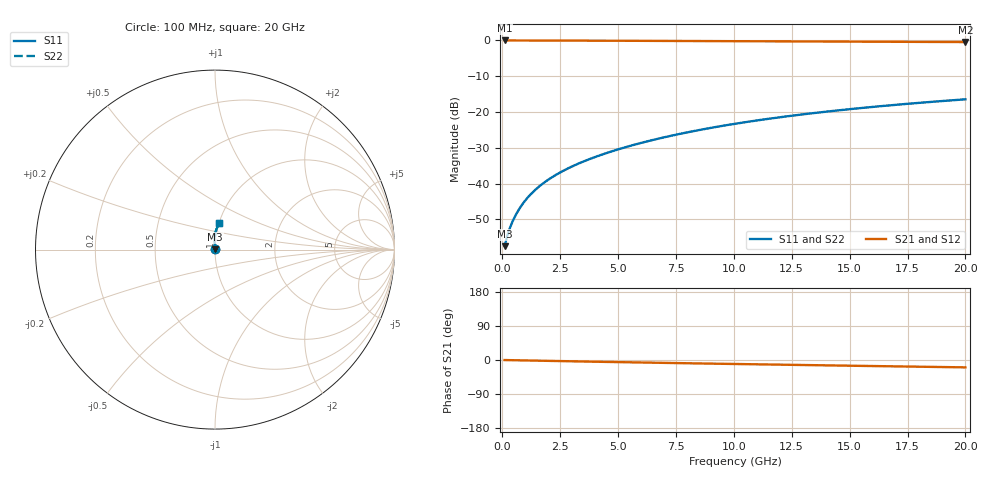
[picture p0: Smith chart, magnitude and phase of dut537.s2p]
! Touchstone file exported from HFSS 2024.1.0
!  File:  C:/UserFiles/LocalFiles/RDL_TSV_Batchsim/temp_RDL_bottom_537_1779688784.aedt
!  Generated:  02:02:07 PM May 25, 2026
!  Design:  RDL_bottom
!  Project:  temp_RDL_bottom_537_1779688784
!  Setup:  Setup1
!  Solution:  Sweep
! Variables:
!  dtsv = 10.80580581um
!  hbump = 3um
!  htsv = 81.48um
!  ldown = 308.16um
!  lrdl = 100um
!  p = 40
!  p1 = 40.27um
!  rhole = 1um
!  t = 450um
!  tdown = 4.65um
!  trdl = 3.915915916um
!  wdown = 25.07um
!  wrdl = 20um
# GHz S MA R 50.000000
! Terminal data exported
! Port[1] = RDL1_T1
! Port[2] = RDL1_T2
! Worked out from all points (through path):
!   200 points, 100 MHz to 20 GHz, reference 50 ohm
!   highest |S21| = -0.01 dB at 100 MHz (marker M1); lowest = -0.5 dB at 20 GHz (marker M2)
!   group delay of S21, straight-line fit = 2.66 ps
!   lowest |S11| = -57.5 dB at 100 MHz (marker M3), VSWR 1.00, Z = 50.1 + j0.0699 ohm
!   |S11| at or under -10 dB: start of sweep to end of sweep
!   |S22| runs from -57.5 to -16.5 dB; largest |S21 - S12| = 2.7e-15
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0.1  0.001332 31.6  0.9989 -0.1  0.9989 -0.1  0.001332 31.6
! Gamma 0 0 0 0
! Port Impedance 50 0 50 0
0.2  0.00179 46.4  0.9987 -0.2  0.9987 -0.2  0.00179 46.4
0.3  0.002257 55.0  0.9986 -0.4  0.9986 -0.4  0.002257 55.0
0.4  0.002733 60.9  0.9985 -0.5  0.9985 -0.5  0.002733 60.9
0.5  0.003224 65.4  0.9985 -0.6  0.9985 -0.6  0.003224 65.4
0.6  0.003728 68.9  0.9984 -0.7  0.9984 -0.7  0.003728 68.9
0.8  0.004769 73.9  0.9982 -0.9  0.9982 -0.9  0.004769 73.9
1  0.005838 77.2  0.998 -1.2  0.998 -1.2  0.005838 77.2
1.2  0.006927 79.6  0.9978 -1.4  0.9978 -1.4  0.006927 79.7
1.7  0.009704 83.6  0.9972 -2.0  0.9972 -2.0  0.009704 83.6
2.2  0.01255 86.1  0.9964 -2.5  0.9964 -2.5  0.01255 86.1
2.8  0.01605 88.2  0.9952 -3.2  0.9952 -3.2  0.01605 88.2
3.5  0.02029 89.9  0.9936 -4.0  0.9936 -4.0  0.02029 89.9
4.2  0.02471 91.1  0.9917 -4.8  0.9917 -4.8  0.02471 91.1
5  0.03 92.1  0.9895 -5.6  0.9895 -5.6  0.03 92.1
6.8  0.04284 92.9  0.984 -7.4  0.984 -7.4  0.04284 93.0
8.4  0.05513 92.6  0.979 -9.0  0.979 -9.0  0.05513 92.6
10.1  0.06879 91.4  0.974 -10.6  0.974 -10.6  0.06879 91.4
11.7  0.08197 89.9  0.9694 -12.1  0.9694 -12.1  0.08198 89.9
13.4  0.09612 88.1  0.9648 -13.6  0.9648 -13.6  0.09613 88.1
16.7  0.1235 84.4  0.9565 -16.6  0.9565 -16.6  0.1235 84.4
20  0.1503 80.6  0.9487 -19.5  0.9487 -19.5  0.1503 80.6
